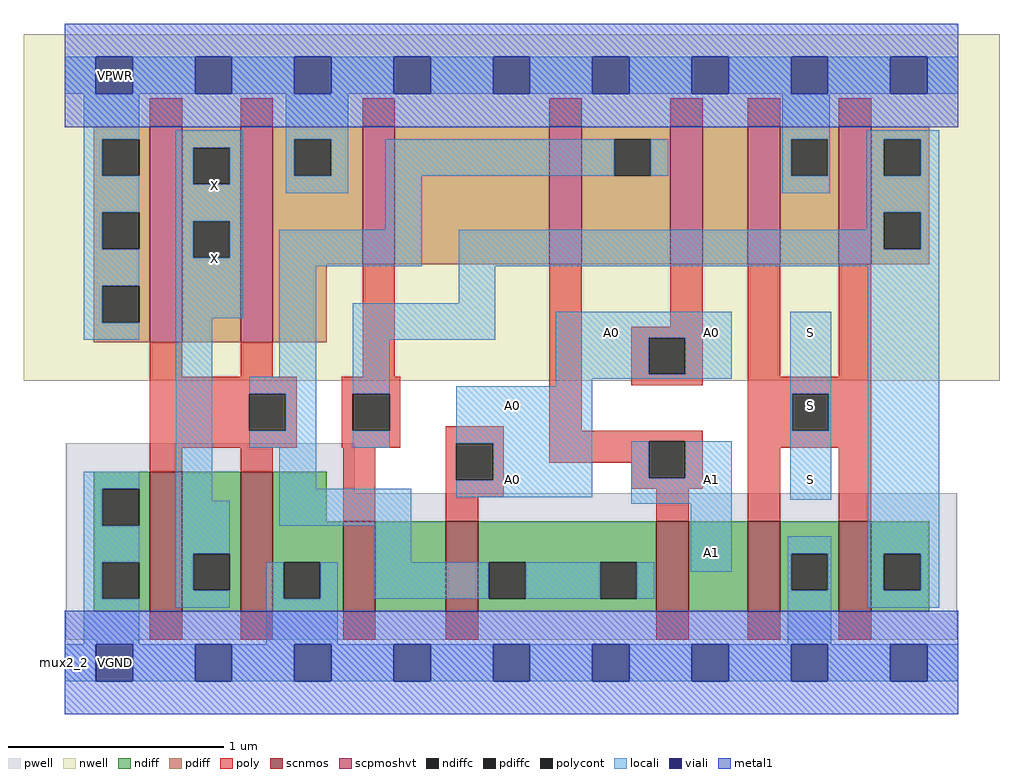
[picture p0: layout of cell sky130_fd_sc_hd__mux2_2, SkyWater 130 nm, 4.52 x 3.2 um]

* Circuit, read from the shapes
.subckt sky130_fd_sc_hd__mux2_2 VGND VPWR VPB VNB S A1 A0 X
XM1 X n1 VGND VNB sky130_fd_pr__nfet_01v8 w=0.65 l=0.15 m=2
XM2 n2 n3 VGND VNB sky130_fd_pr__nfet_01v8 w=0.42 l=0.15
XM3 n1 A0 n2 VNB sky130_fd_pr__nfet_01v8 w=0.42 l=0.15
XM4 n4 A1 n1 VNB sky130_fd_pr__nfet_01v8 w=0.42 l=0.15
XM5 VGND S n4 VNB sky130_fd_pr__nfet_01v8 w=0.42 l=0.15
XM6 n3 S VGND VNB sky130_fd_pr__nfet_01v8 w=0.42 l=0.15
XM7 X n1 VPWR VPB sky130_fd_pr__pfet_01v8_hvt w=1 l=0.15 m=2
XM8 n5 n3 VPWR VPB sky130_fd_pr__pfet_01v8_hvt w=0.64 l=0.15
XM9 n1 A1 n5 VPB sky130_fd_pr__pfet_01v8_hvt w=0.64 l=0.15
XM10 n6 A0 n1 VPB sky130_fd_pr__pfet_01v8_hvt w=0.64 l=0.15
XM11 VPWR S n6 VPB sky130_fd_pr__pfet_01v8_hvt w=0.64 l=0.15
XM12 n3 S VPWR VPB sky130_fd_pr__pfet_01v8_hvt w=0.64 l=0.15
.ends

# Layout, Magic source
magic
tech sky130B
magscale 1 2
<< nwell >>
rect -38 221 866 542
<< pwell >>
rect 1 117 269 163
rect 1 -19 827 117
rect 30 -57 64 -19
<< scnmos >>
rect 79 7 109 137
rect 163 7 193 137
rect 258 7 288 91
rect 353 7 383 91
rect 548 7 578 91
rect 633 7 663 91
rect 717 7 747 91
<< scpmoshvt >>
rect 79 257 109 457
rect 163 257 193 457
rect 276 329 306 457
rect 449 329 479 457
rect 561 329 591 457
rect 633 329 663 457
rect 717 329 747 457
<< ndiff >>
rect 27 121 79 137
rect 27 87 35 121
rect 69 87 79 121
rect 27 53 79 87
rect 27 19 35 53
rect 69 19 79 53
rect 27 7 79 19
rect 109 61 163 137
rect 109 27 119 61
rect 153 27 163 61
rect 109 7 163 27
rect 193 91 243 137
rect 193 53 258 91
rect 193 19 203 53
rect 237 19 258 53
rect 193 7 258 19
rect 288 7 353 91
rect 383 53 548 91
rect 383 19 393 53
rect 427 19 496 53
rect 530 19 548 53
rect 383 7 548 19
rect 578 7 633 91
rect 663 61 717 91
rect 663 27 673 61
rect 707 27 717 61
rect 663 7 717 27
rect 747 61 801 91
rect 747 27 759 61
rect 793 27 801 61
rect 747 7 801 27
<< pdiff >>
rect 27 445 79 457
rect 27 411 35 445
rect 69 411 79 445
rect 27 377 79 411
rect 27 343 35 377
rect 69 343 79 377
rect 27 309 79 343
rect 27 275 35 309
rect 69 275 79 309
rect 27 257 79 275
rect 109 437 163 457
rect 109 403 119 437
rect 153 403 163 437
rect 109 369 163 403
rect 109 335 119 369
rect 153 335 163 369
rect 109 257 163 335
rect 193 445 276 457
rect 193 411 213 445
rect 247 411 276 445
rect 193 329 276 411
rect 306 329 449 457
rect 479 445 561 457
rect 479 411 509 445
rect 543 411 561 445
rect 479 329 561 411
rect 591 329 633 457
rect 663 445 717 457
rect 663 411 673 445
rect 707 411 717 445
rect 663 329 717 411
rect 747 445 801 457
rect 747 411 759 445
rect 793 411 801 445
rect 747 377 801 411
rect 747 343 759 377
rect 793 343 801 377
rect 747 329 801 343
rect 193 257 243 329
<< ndiffc >>
rect 35 87 69 121
rect 35 19 69 53
rect 119 27 153 61
rect 203 19 237 53
rect 393 19 427 53
rect 496 19 530 53
rect 673 27 707 61
rect 759 27 793 61
<< pdiffc >>
rect 35 411 69 445
rect 35 343 69 377
rect 35 275 69 309
rect 119 403 153 437
rect 119 335 153 369
rect 213 411 247 445
rect 509 411 543 445
rect 673 411 707 445
rect 759 411 793 445
rect 759 343 793 377
<< poly >>
rect 79 457 109 483
rect 163 457 193 483
rect 276 457 306 483
rect 449 457 479 483
rect 561 457 591 483
rect 633 457 663 483
rect 717 457 747 483
rect 79 225 109 257
rect 163 225 193 257
rect 276 225 306 329
rect 79 209 215 225
rect 79 175 171 209
rect 205 175 215 209
rect 79 159 215 175
rect 257 209 311 225
rect 257 175 267 209
rect 301 175 311 209
rect 257 159 311 175
rect 353 163 407 179
rect 79 137 109 159
rect 163 137 193 159
rect 258 91 288 159
rect 353 129 363 163
rect 397 129 407 163
rect 449 175 479 329
rect 561 271 591 329
rect 525 261 591 271
rect 525 227 541 261
rect 575 227 591 261
rect 525 217 591 227
rect 633 225 663 329
rect 717 225 747 329
rect 633 209 747 225
rect 633 175 674 209
rect 708 175 747 209
rect 449 165 591 175
rect 449 145 541 165
rect 353 113 407 129
rect 525 131 541 145
rect 575 131 591 165
rect 525 121 591 131
rect 633 159 747 175
rect 353 91 383 113
rect 548 91 578 121
rect 633 91 663 159
rect 717 91 747 159
rect 79 -19 109 7
rect 163 -19 193 7
rect 258 -19 288 7
rect 353 -19 383 7
rect 548 -19 578 7
rect 633 -19 663 7
rect 717 -19 747 7
<< polycont >>
rect 171 175 205 209
rect 267 175 301 209
rect 363 129 397 163
rect 541 227 575 261
rect 674 175 708 209
rect 541 131 575 165
<< locali >>
rect 0 487 29 521
rect 63 487 121 521
rect 155 487 213 521
rect 247 487 305 521
rect 339 487 397 521
rect 431 487 489 521
rect 523 487 581 521
rect 615 487 673 521
rect 707 487 765 521
rect 799 487 828 521
rect 18 445 69 487
rect 18 411 35 445
rect 18 377 69 411
rect 18 343 35 377
rect 18 309 69 343
rect 18 275 35 309
rect 18 259 69 275
rect 103 437 165 453
rect 103 403 119 437
rect 153 403 165 437
rect 103 369 165 403
rect 205 445 263 487
rect 665 445 709 487
rect 205 411 213 445
rect 247 411 263 445
rect 205 395 263 411
rect 297 411 509 445
rect 543 411 559 445
rect 665 411 673 445
rect 707 411 709 445
rect 103 335 119 369
rect 153 335 165 369
rect 297 361 331 411
rect 665 395 709 411
rect 743 445 810 453
rect 743 411 759 445
rect 793 411 810 445
rect 743 377 810 411
rect 743 361 759 377
rect 103 279 165 335
rect 199 327 331 361
rect 365 343 759 361
rect 793 343 810 377
rect 365 327 810 343
rect 18 121 69 137
rect 18 87 35 121
rect 18 53 69 87
rect 18 19 35 53
rect 18 -23 69 19
rect 103 110 137 279
rect 199 225 233 327
rect 365 293 399 327
rect 171 209 233 225
rect 205 175 233 209
rect 171 159 233 175
rect 267 259 399 293
rect 455 261 618 285
rect 267 209 301 259
rect 455 227 541 261
rect 575 227 618 261
rect 455 223 618 227
rect 455 216 489 223
rect 267 159 301 175
rect 363 163 489 216
rect 672 209 710 285
rect 672 175 674 209
rect 708 175 710 209
rect 199 121 233 159
rect 397 129 489 163
rect 103 61 153 110
rect 199 87 321 121
rect 363 113 489 129
rect 525 131 541 165
rect 575 131 618 165
rect 525 107 618 131
rect 672 111 710 175
rect 103 27 119 61
rect 287 53 321 87
rect 103 11 153 27
rect 187 19 203 53
rect 237 19 253 53
rect 287 19 393 53
rect 427 19 496 53
rect 530 19 546 53
rect 580 44 618 107
rect 670 61 710 77
rect 670 27 673 61
rect 707 27 710 61
rect 187 -23 253 19
rect 670 -23 710 27
rect 744 61 810 327
rect 744 27 759 61
rect 793 27 810 61
rect 744 11 810 27
rect 0 -57 29 -23
rect 63 -57 121 -23
rect 155 -57 213 -23
rect 247 -57 305 -23
rect 339 -57 397 -23
rect 431 -57 489 -23
rect 523 -57 581 -23
rect 615 -57 673 -23
rect 707 -57 765 -23
rect 799 -57 828 -23
<< viali >>
rect 29 487 63 521
rect 121 487 155 521
rect 213 487 247 521
rect 305 487 339 521
rect 397 487 431 521
rect 489 487 523 521
rect 581 487 615 521
rect 673 487 707 521
rect 765 487 799 521
rect 29 -57 63 -23
rect 121 -57 155 -23
rect 213 -57 247 -23
rect 305 -57 339 -23
rect 397 -57 431 -23
rect 489 -57 523 -23
rect 581 -57 615 -23
rect 673 -57 707 -23
rect 765 -57 799 -23
<< metal1 >>
rect 0 521 828 552
rect 0 487 29 521
rect 63 487 121 521
rect 155 487 213 521
rect 247 487 305 521
rect 339 487 397 521
rect 431 487 489 521
rect 523 487 581 521
rect 615 487 673 521
rect 707 487 765 521
rect 799 487 828 521
rect 0 456 828 487
rect 0 -23 828 8
rect 0 -57 29 -23
rect 63 -57 121 -23
rect 155 -57 213 -23
rect 247 -57 305 -23
rect 339 -57 397 -23
rect 431 -57 489 -23
rect 523 -57 581 -23
rect 615 -57 673 -23
rect 707 -57 765 -23
rect 799 -57 828 -23
rect 0 -88 828 -57
<< labels >>
rlabel comment s 0 -40 0 -40 4 mux2_2
flabel metal1 s 30 -57 64 -23 0 FreeSans 200 0 0 0 VGND
port 2 nsew
flabel metal1 s 30 487 64 521 0 FreeSans 200 0 0 0 VPWR
port 3 nsew
flabel nwell s 30 487 64 521 0 FreeSans 200 0 0 0 VPB
port 5 nsew
flabel pwell s 30 -57 64 -23 0 FreeSans 200 0 0 0 VNB
port 6 nsew
flabel locali s 582 113 616 147 0 FreeSans 200 0 0 0 A1
port 8 nsew
flabel locali s 490 249 524 283 0 FreeSans 200 0 0 0 A0
port 9 nsew
flabel locali s 398 181 432 215 0 FreeSans 200 0 0 0 A0
port 9 nsew
flabel locali s 398 113 432 147 0 FreeSans 200 0 0 0 A0
port 9 nsew
flabel locali s 674 113 708 147 0 FreeSans 200 0 0 0 S
port 7 nsew
flabel locali s 582 45 616 79 0 FreeSans 200 0 0 0 A1
port 8 nsew
flabel locali s 122 385 156 419 0 FreeSans 200 0 0 0 X
port 10 nsew
flabel locali s 122 317 156 351 0 FreeSans 200 0 0 0 X
port 10 nsew
flabel locali s 582 249 616 283 0 FreeSans 200 0 0 0 A0
port 9 nsew
flabel locali s 674 249 708 283 0 FreeSans 200 0 0 0 S
port 7 nsew
flabel locali s 674 181 708 215 0 FreeSans 200 0 0 0 S
port 7 nsew
<< properties >>
string FIXED_BBOX 0 -40 828 504
string path 0.000 -1.000 20.700 -1.000 
<< end >>
